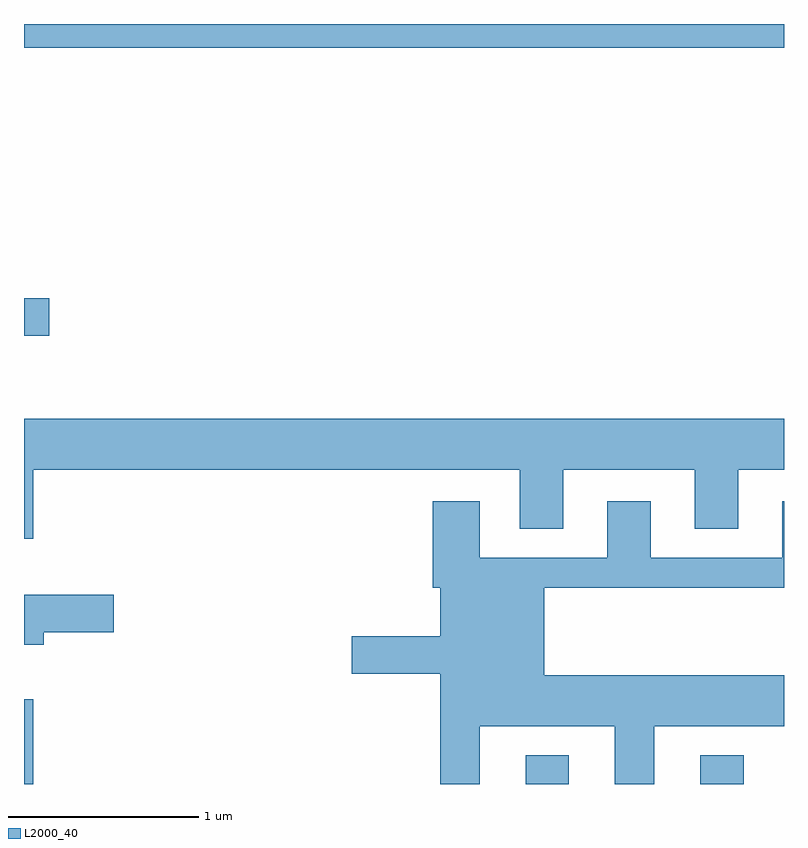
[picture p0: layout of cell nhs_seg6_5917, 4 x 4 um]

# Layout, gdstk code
import gdstk
lib = gdstk.Library(unit=1e-6, precision=1e-09)
def R(c, l, rs):  # rectangles x0, y0, x1, y1
    for r in rs: c.add(gdstk.rectangle(r[:2], r[2:], *l))
def P(c, l, *ps):  # polygons
    for p in ps: c.add(gdstk.Polygon(p, *l))
L2000_40 = (2000, 40)

nhs_seg6_5917 = lib.new_cell('nhs_seg6_5917')
R(nhs_seg6_5917, L2000_40, [(365.611,1546.162,365.659,1546.608), (368.251,1546.162,368.479,1546.314), (369.171,1546.162,369.399,1546.314), (365.611,1548.521,365.744,1548.719), (365.611,1550.036,369.611,1550.162)])
P(nhs_seg6_5917, L2000_40, [(365.659,1547.816),(368.221,1547.816),(368.221,1547.506),(368.449,1547.506),(368.449,1547.816),(369.141,1547.816),(369.141,1547.506),(369.369,1547.506),(369.369,1547.816),(369.611,1547.816),(369.611,1548.084),(365.611,1548.084),(365.611,1547.453),(365.659,1547.453)],
  [(368.009,1546.466),(368.721,1546.466),(368.721,1546.162),(368.929,1546.162),(368.929,1546.466),(369.611,1546.466),(369.611,1546.734),(368.349,1546.734),(368.349,1547.196),(369.611,1547.196),(369.611,1547.649),(369.601,1547.649),(369.601,1547.354),(368.909,1547.354),(368.909,1547.649),(368.681,1547.649),(368.681,1547.354),(368.009,1547.354),(368.009,1547.649),(367.761,1547.649),(367.761,1547.196),(367.801,1547.196),(367.801,1546.939),(367.336,1546.939),(367.336,1546.741),(367.801,1546.741),(367.801,1546.162),(368.009,1546.162)],
  [(365.714,1546.961),(366.084,1546.961),(366.084,1547.159),(365.611,1547.159),(365.611,1546.896),(365.714,1546.896)])

lib.write_gds('nhs_seg6_5917.gds')
